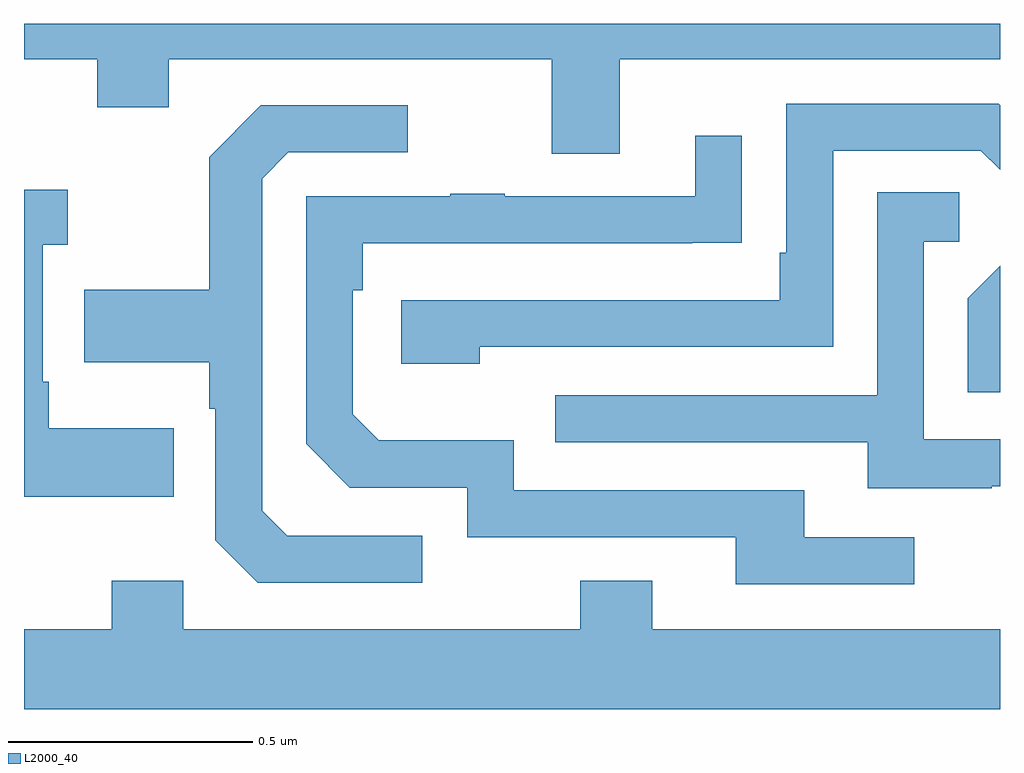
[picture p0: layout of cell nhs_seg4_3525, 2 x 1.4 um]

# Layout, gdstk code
import gdstk
lib = gdstk.Library(unit=1e-6, precision=1e-09)
def P(c, l, *ps):  # polygons
    for p in ps: c.add(gdstk.Polygon(p, *l))
L2000_40 = (2000, 40)

nhs_seg4_3525 = lib.new_cell('nhs_seg4_3525')
P(nhs_seg4_3525, L2000_40, [(154,788.828),(154.15,788.828),(154.15,788.729),(154.297,788.729),(154.297,788.828),(155.081,788.828),(155.081,788.634),(155.221,788.634),(155.221,788.828),(156,788.828),(156,788.9),(154,788.9)],
  [(154.934,788.238),(155.658,788.238),(155.658,788.64),(155.961,788.64),(156,788.601),(156,788.733),(155.997,788.736),(155.562,788.736),(155.562,788.431),(155.549,788.431),(155.549,788.334),(154.773,788.334),(154.773,788.204),(154.934,788.204)],
  [(154.816,787.851),(154.539,787.851),(154.488,787.902),(154.488,788.583),(154.542,788.637),(154.786,788.637),(154.786,788.733),(154.485,788.733),(154.38,788.627),(154.38,788.355),(154.123,788.355),(154.123,788.207),(154.38,788.207),(154.38,788.111),(154.392,788.111),(154.392,787.842),(154.479,787.755),(154.816,787.755)],
  [(155.824,787.848),(155.599,787.848),(155.599,787.944),(155.004,787.944),(155.004,788.047),(154.727,788.047),(154.674,788.1),(154.674,788.354),(154.694,788.354),(154.694,788.451),(155.369,788.451),(155.369,788.452),(155.471,788.452),(155.471,788.671),(155.375,788.671),(155.375,788.547),(154.985,788.547),(154.985,788.552),(154.873,788.552),(154.873,788.547),(154.578,788.547),(154.578,788.04),(154.668,787.95),(154.908,787.95),(154.908,787.848),(155.459,787.848),(155.459,787.752),(155.824,787.752)],
  [(154.307,788.071),(154.051,788.071),(154.051,788.167),(154.038,788.167),(154.038,788.447),(154.09,788.447),(154.09,788.56),(154,788.56),(154,787.931),(154.307,787.931)],
  [(155.983,787.953),(156,787.953),(156,788.049),(155.844,788.049),(155.844,788.454),(155.917,788.454),(155.917,788.555),(155.748,788.555),(155.748,788.139),(155.089,788.139),(155.089,788.043),(155.729,788.043),(155.729,787.949),(155.983,787.949)],
  [(156,788.404),(155.934,788.338),(155.934,788.145),(156,788.145)],
  [(156,787.66),(155.287,787.66),(155.287,787.759),(155.14,787.759),(155.14,787.66),(154.326,787.66),(154.326,787.759),(154.18,787.759),(154.18,787.66),(154,787.66),(154,787.496),(156,787.496)])

lib.write_gds('nhs_seg4_3525.gds')
